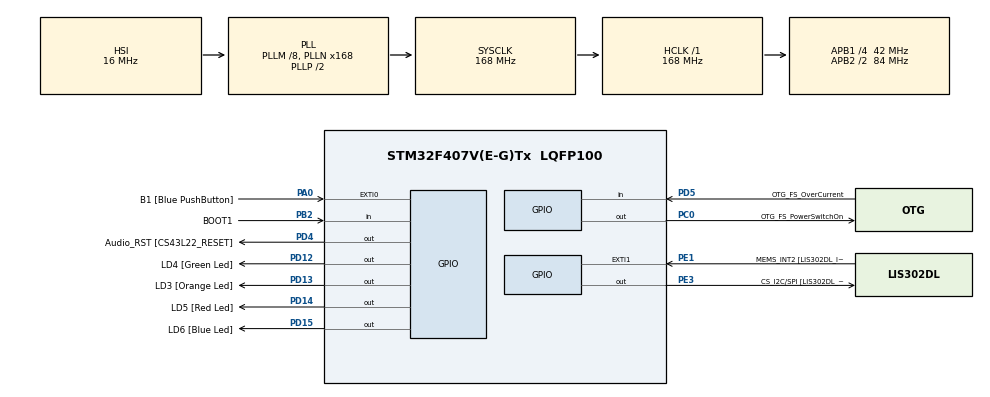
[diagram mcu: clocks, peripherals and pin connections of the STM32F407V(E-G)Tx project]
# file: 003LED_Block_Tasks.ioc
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Mcu.Family=STM32F4
Mcu.Name=STM32F407V(E-G)Tx
Mcu.Package=LQFP100
NVIC.PriorityGroup=NVIC_PRIORITYGROUP_4
NVIC.TIM6_DAC_IRQn=true\:0\:0\:false\:false\:true\:false\:true\:true
NVIC.TimeBase=TIM6_DAC_IRQn
NVIC.TimeBaseIP=TIM6
PA0-WKUP.GPIO_Label=B1 [Blue PushButton]
PA0-WKUP.Signal=GPXTI0
PA10.GPIO_Label=OTG_FS_ID
PA10.GPIO_Mode=GPIO_MODE_AF_PP
PA10.GPIO_PuPd=GPIO_NOPULL
PA10.GPIO_Speed=GPIO_SPEED_FREQ_LOW
PA10.Signal=USB_OTG_FS_ID
PA11.GPIO_Label=OTG_FS_DM
PA11.GPIO_Mode=GPIO_MODE_AF_PP
PA11.GPIO_PuPd=GPIO_NOPULL
PA11.GPIO_Speed=GPIO_SPEED_FREQ_LOW
PA11.Signal=USB_OTG_FS_DM
PA12.GPIO_Label=OTG_FS_DP
PA12.GPIO_Mode=GPIO_MODE_AF_PP
PA12.GPIO_PuPd=GPIO_NOPULL
PA12.GPIO_Speed=GPIO_SPEED_FREQ_LOW
PA12.Signal=USB_OTG_FS_DP
PA13.GPIO_Label=SWDIO
PA13.Signal=SYS_JTMS-SWDIO
PA14.GPIO_Label=SWCLK
PA14.Signal=SYS_JTCK-SWCLK
PA4.GPIO_Label=I2S3_WS [CS43L22_LRCK]
PA4.GPIO_Mode=GPIO_MODE_AF_PP
PA4.GPIO_PuPd=GPIO_NOPULL
PA4.GPIO_Speed=GPIO_SPEED_FREQ_LOW
PA4.Signal=I2S3_WS
PA5.GPIO_Label=SPI1_SCK [LIS302DL_SCL/SPC]
PA5.GPIO_Mode=GPIO_MODE_AF_PP
PA5.GPIO_PuPd=GPIO_NOPULL
PA5.GPIO_Speed=GPIO_SPEED_FREQ_LOW
PA5.Signal=SPI1_SCK
PA6.GPIO_Label=SPI1_MISO [LIS302DL_SDO]
PA6.GPIO_Mode=GPIO_MODE_AF_PP
PA6.GPIO_PuPd=GPIO_NOPULL
PA6.GPIO_Speed=GPIO_SPEED_FREQ_LOW
PA6.Signal=SPI1_MISO
PA7.GPIO_Label=SPI1_MOSI [LIS302DL_SDA/SDI/SDO]
PA7.GPIO_Mode=GPIO_MODE_AF_PP
PA7.GPIO_PuPd=GPIO_NOPULL
PA7.GPIO_Speed=GPIO_SPEED_FREQ_LOW
PA7.Signal=SPI1_MOSI
PA9.GPIO_Label=VBUS_FS
PA9.GPIO_Mode=GPIO_MODE_INPUT
PA9.GPIO_PuPd=GPIO_NOPULL
PA9.Signal=USB_OTG_FS_VBUS
PB10.GPIO_Label=CLK_IN [MP45DT02_CLK]
PB10.GPIO_Mode=GPIO_MODE_AF_PP
PB10.GPIO_PuPd=GPIO_NOPULL
PB10.GPIO_Speed=GPIO_SPEED_FREQ_LOW
PB10.Signal=I2S2_CK
PB2.GPIO_Label=BOOT1
PB2.GPIO_Mode=GPIO_MODE_INPUT
PB2.GPIO_PuPd=GPIO_NOPULL
PB2.Signal=GPIO_Input
PB3.GPIO_Label=SWO
PB3.Signal=SYS_JTDO-SWO
PB6.GPIO_Label=Audio_SCL [CS43L22_SCL]
PB6.GPIO_Mode=GPIO_MODE_AF_OD
PB6.GPIO_PuPd=GPIO_NOPULL
PB6.GPIO_Speed=GPIO_SPEED_FREQ_LOW
PB6.Signal=I2C1_SCL
PB9.GPIO_Label=Audio_SDA [CS43L22_SDA]
PB9.GPIO_Mode=GPIO_MODE_AF_OD
PB9.GPIO_PuPd=GPIO_NOPULL
PB9.GPIO_Speed=GPIO_SPEED_FREQ_LOW
PB9.Signal=I2C1_SDA
PC0.GPIO_Label=OTG_FS_PowerSwitchOn
PC0.GPIO_PuPd=GPIO_NOPULL
PC0.GPIO_Speed=GPIO_SPEED_FREQ_LOW
PC0.PinState=GPIO_PIN_SET
PC0.Signal=GPIO_Output
PC10.GPIO_Label=I2S3_SCK [CS43L22_SCLK]
PC10.GPIO_Mode=GPIO_MODE_AF_PP
PC10.GPIO_PuPd=GPIO_NOPULL
PC10.GPIO_Speed=GPIO_SPEED_FREQ_LOW
PC10.Signal=I2S3_CK
PC12.GPIO_Label=I2S3_SD [CS43L22_SDIN]
PC12.GPIO_Mode=GPIO_MODE_AF_PP
PC12.GPIO_PuPd=GPIO_NOPULL
PC12.GPIO_Speed=GPIO_SPEED_FREQ_LOW
PC12.Signal=I2S3_SD
PC14-OSC32_IN.GPIO_Label=PC14-OSC32_IN
PC14-OSC32_IN.Signal=RCC_OSC32_IN
PC15-OSC32_OUT.GPIO_Label=PC15-OSC32_OUT
PC15-OSC32_OUT.Signal=RCC_OSC32_OUT
PC3.GPIO_Label=PDM_OUT [MP45DT02_DOUT]
PC3.GPIO_Mode=GPIO_MODE_AF_PP
PC3.GPIO_PuPd=GPIO_NOPULL
PC3.GPIO_Speed=GPIO_SPEED_FREQ_LOW
PC3.Signal=I2S2_SD
PC7.GPIO_Label=I2S3_MCK [CS43L22_MCLK]
PC7.GPIO_Mode=GPIO_MODE_AF_PP
PC7.GPIO_PuPd=GPIO_NOPULL
PC7.GPIO_Speed=GPIO_SPEED_FREQ_LOW
PC7.Signal=I2S3_MCK
PD12.GPIO_Label=LD4 [Green Led]
PD12.GPIO_PuPd=GPIO_NOPULL
PD12.GPIO_Speed=GPIO_SPEED_FREQ_LOW
PD12.Signal=GPIO_Output
PD13.GPIO_Label=LD3 [Orange Led]
PD13.GPIO_PuPd=GPIO_NOPULL
PD13.GPIO_Speed=GPIO_SPEED_FREQ_LOW
PD13.Signal=GPIO_Output
PD14.GPIO_Label=LD5 [Red Led]
PD14.GPIO_PuPd=GPIO_NOPULL
PD14.GPIO_Speed=GPIO_SPEED_FREQ_LOW
PD14.Signal=GPIO_Output
PD15.GPIO_Label=LD6 [Blue Led]
PD15.GPIO_PuPd=GPIO_NOPULL
PD15.GPIO_Speed=GPIO_SPEED_FREQ_LOW
PD15.Signal=GPIO_Output
PD4.GPIO_Label=Audio_RST [CS43L22_RESET]
PD4.GPIO_PuPd=GPIO_NOPULL
PD4.GPIO_Speed=GPIO_SPEED_FREQ_LOW
PD4.Signal=GPIO_Output
PD5.GPIO_Label=OTG_FS_OverCurrent
PD5.GPIO_Mode=GPIO_MODE_INPUT
PD5.GPIO_PuPd=GPIO_NOPULL
PD5.Signal=GPIO_Input
PE1.GPIO_Label=MEMS_INT2 [LIS302DL_INT2]
PE1.GPIO_ModeDefaultEXTI=GPIO_MODE_EVT_RISING
PE1.GPIO_PuPd=GPIO_NOPULL
PE1.Signal=GPXTI1
PE3.GPIO_Label=CS_I2C/SPI [LIS302DL_CS_I2C/SPI]
PE3.GPIO_PuPd=GPIO_NOPULL
PE3.GPIO_Speed=GPIO_SPEED_FREQ_LOW
PE3.Signal=GPIO_Output
PH0-OSC_IN.GPIO_Label=PH0-OSC_IN
PH0-OSC_IN.Signal=RCC_OSC_IN
PH1-OSC_OUT.GPIO_Label=PH1-OSC_OUT
PH1-OSC_OUT.Signal=RCC_OSC_OUT
ProjectManager.HeapSize=0x200
ProjectManager.StackSize=0x400
ProjectManager.TargetToolchain=STM32CubeIDE
RCC.48MHZClocksFreq_Value=48000000
RCC.AHBFreq_Value=168000000
RCC.APB1CLKDivider=RCC_HCLK_DIV4
RCC.APB1Freq_Value=42000000
RCC.APB1TimFreq_Value=84000000
RCC.APB2CLKDivider=RCC_HCLK_DIV2
RCC.APB2Freq_Value=84000000
RCC.APB2TimFreq_Value=168000000
RCC.CortexFreq_Value=168000000
RCC.HCLKFreq_Value=168000000
RCC.HSE_VALUE=8000000
RCC.HSI_VALUE=16000000
RCC.LSE_VALUE=32768
RCC.PLLM=8
RCC.PLLN=168
RCC.PLLQ=7
RCC.SYSCLKFreq_VALUE=168000000
RCC.SYSCLKSource=RCC_SYSCLKSOURCE_PLLCLK
RCC.VCOOutputFreq_Value=336000000
VP_SYS_VS_tim6.Mode=TIM6
board=STM32F407G-DISC1

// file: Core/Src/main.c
/* USER CODE BEGIN Header */
/**
  ******************************************************************************
  * @file           : main.c
  * @brief          : Main program body
  ******************************************************************************
  * @attention
  *
  * Copyright (c) 2023 STMicroelectronics.
  * All rights reserved.
  *
  * This software is licensed under terms that can be found in the LICENSE file
  * in the root directory of this software component.
  * If no LICENSE file comes with this software, it is provided AS-IS.
  *
  ******************************************************************************
  */
/* USER CODE END Header */
#include "main.h"

/* USER CODE BEGIN Includes */
#include "FreeRTOS.h"
#include "task.h"
/* USER CODE END Includes */

/* USER CODE BEGIN PV */

#define DWT_CTRL	(*(volatile uint32_t*)0xE0001000)

/* USER CODE END PV */

void SystemClock_Config(void);
static void MX_GPIO_Init(void);
/* USER CODE BEGIN PFP */
static void led_green_handler(void* parameters);
static void led_red_handler(void* parameters);
static void led_orange_handler(void* parameters);
/* USER CODE END PFP */

int main(void)
{
  /* USER CODE BEGIN 1 */
  TaskHandle_t task1_handle;
  TaskHandle_t task2_handle;
  TaskHandle_t task3_handle;

  BaseType_t status;
  /* USER CODE END 1 */

  /* MCU Configuration--------------------------------------------------------*/

  /* Reset of all peripherals, Initializes the Flash interface and the Systick. */
  HAL_Init();

  /* Configure the system clock */
  SystemClock_Config();

  /* Initialize all configured peripherals */
  MX_GPIO_Init();
  /* USER CODE BEGIN 2 */

  DWT_CTRL |= ( 1<< 0);

  SEGGER_UART_init(500000);

  SEGGER_SYSVIEW_Conf();

  status = xTaskCreate(led_green_handler, "LED_green_task", 200, NULL, 2, &task1_handle);

  configASSERT(status == pdPASS);

  status = xTaskCreate(led_red_handler, "LED_red_task", 200, NULL, 2, &task2_handle);

  configASSERT(status == pdPASS);

  status = xTaskCreate(led_orange_handler, "LED_orange_task", 200, NULL, 2, &task3_handle);

  configASSERT(status == pdPASS);

  vTaskStartScheduler();
  /* USER CODE END 2 */

  /* Infinite loop */
  while (1)
  {

  }
}

void SystemClock_Config(void)
{
  RCC_OscInitTypeDef RCC_OscInitStruct = {0};
  RCC_ClkInitTypeDef RCC_ClkInitStruct = {0};

  /** Configure the main internal regulator output voltage
  */
  __HAL_RCC_PWR_CLK_ENABLE();
  __HAL_PWR_VOLTAGESCALING_CONFIG(PWR_REGULATOR_VOLTAGE_SCALE1);

  /** Initializes the RCC Oscillators according to the specified parameters
  * in the RCC_OscInitTypeDef structure.
  */
  RCC_OscInitStruct.OscillatorType = RCC_OSCILLATORTYPE_HSI;
  RCC_OscInitStruct.HSIState = RCC_HSI_ON;
  RCC_OscInitStruct.HSICalibrationValue = RCC_HSICALIBRATION_DEFAULT;
  RCC_OscInitStruct.PLL.PLLState = RCC_PLL_ON;
  RCC_OscInitStruct.PLL.PLLSource = RCC_PLLSOURCE_HSI;
  RCC_OscInitStruct.PLL.PLLM = 8;
  RCC_OscInitStruct.PLL.PLLN = 168;
  RCC_OscInitStruct.PLL.PLLP = RCC_PLLP_DIV2;
  RCC_OscInitStruct.PLL.PLLQ = 7;
  if (HAL_RCC_OscConfig(&RCC_OscInitStruct) != HAL_OK)
  {
    Error_Handler();
  }

  /** Initializes the CPU, AHB and APB buses clocks
  */
  RCC_ClkInitStruct.ClockType = RCC_CLOCKTYPE_HCLK|RCC_CLOCKTYPE_SYSCLK
                              |RCC_CLOCKTYPE_PCLK1|RCC_CLOCKTYPE_PCLK2;
  RCC_ClkInitStruct.SYSCLKSource = RCC_SYSCLKSOURCE_PLLCLK;
  RCC_ClkInitStruct.AHBCLKDivider = RCC_SYSCLK_DIV1;
  RCC_ClkInitStruct.APB1CLKDivider = RCC_HCLK_DIV4;
  RCC_ClkInitStruct.APB2CLKDivider = RCC_HCLK_DIV2;

  if (HAL_RCC_ClockConfig(&RCC_ClkInitStruct, FLASH_LATENCY_5) != HAL_OK)
  {
    Error_Handler();
  }
}

static void MX_GPIO_Init(void)
{
  GPIO_InitTypeDef GPIO_InitStruct = {0};

  /* GPIO Ports Clock Enable */
  __HAL_RCC_GPIOE_CLK_ENABLE();
  __HAL_RCC_GPIOC_CLK_ENABLE();
  __HAL_RCC_GPIOH_CLK_ENABLE();
  __HAL_RCC_GPIOA_CLK_ENABLE();
  __HAL_RCC_GPIOB_CLK_ENABLE();
  __HAL_RCC_GPIOD_CLK_ENABLE();

  /*Configure GPIO pin Output Level */
  HAL_GPIO_WritePin(CS_I2C_SPI_GPIO_Port, CS_I2C_SPI_Pin, GPIO_PIN_RESET);

  /*Configure GPIO pin Output Level */
  HAL_GPIO_WritePin(OTG_FS_PowerSwitchOn_GPIO_Port, OTG_FS_PowerSwitchOn_Pin, GPIO_PIN_SET);

  /*Configure GPIO pin Output Level */
  HAL_GPIO_WritePin(GPIOD, LD4_Pin|LD3_Pin|LD5_Pin|LD6_Pin
                          |Audio_RST_Pin, GPIO_PIN_RESET);

  /*Configure GPIO pin : CS_I2C_SPI_Pin */
  GPIO_InitStruct.Pin = CS_I2C_SPI_Pin;
  GPIO_InitStruct.Mode = GPIO_MODE_OUTPUT_PP;
  GPIO_InitStruct.Pull = GPIO_NOPULL;
  GPIO_InitStruct.Speed = GPIO_SPEED_FREQ_LOW;
  HAL_GPIO_Init(CS_I2C_SPI_GPIO_Port, &GPIO_InitStruct);

  /*Configure GPIO pin : OTG_FS_PowerSwitchOn_Pin */
  GPIO_InitStruct.Pin = OTG_FS_PowerSwitchOn_Pin;
  GPIO_InitStruct.Mode = GPIO_MODE_OUTPUT_PP;
  GPIO_InitStruct.Pull = GPIO_NOPULL;
  GPIO_InitStruct.Speed = GPIO_SPEED_FREQ_LOW;
  HAL_GPIO_Init(OTG_FS_PowerSwitchOn_GPIO_Port, &GPIO_InitStruct);

  /*Configure GPIO pin : PDM_OUT_Pin */
  GPIO_InitStruct.Pin = PDM_OUT_Pin;
  GPIO_InitStruct.Mode = GPIO_MODE_AF_PP;
  GPIO_InitStruct.Pull = GPIO_NOPULL;
  GPIO_InitStruct.Speed = GPIO_SPEED_FREQ_LOW;
  GPIO_InitStruct.Alternate = GPIO_AF5_SPI2;
  HAL_GPIO_Init(PDM_OUT_GPIO_Port, &GPIO_InitStruct);

  /*Configure GPIO pin : B1_Pin */
  GPIO_InitStruct.Pin = B1_Pin;
  GPIO_InitStruct.Mode = GPIO_MODE_IT_RISING;
  GPIO_InitStruct.Pull = GPIO_NOPULL;
  HAL_GPIO_Init(B1_GPIO_Port, &GPIO_InitStruct);

  /*Configure GPIO pin : I2S3_WS_Pin */
  GPIO_InitStruct.Pin = I2S3_WS_Pin;
  GPIO_InitStruct.Mode = GPIO_MODE_AF_PP;
  GPIO_InitStruct.Pull = GPIO_NOPULL;
  GPIO_InitStruct.Speed = GPIO_SPEED_FREQ_LOW;
  GPIO_InitStruct.Alternate = GPIO_AF6_SPI3;
  HAL_GPIO_Init(I2S3_WS_GPIO_Port, &GPIO_InitStruct);

  /*Configure GPIO pins : SPI1_SCK_Pin SPI1_MISO_Pin SPI1_MOSI_Pin */
  GPIO_InitStruct.Pin = SPI1_SCK_Pin|SPI1_MISO_Pin|SPI1_MOSI_Pin;
  GPIO_InitStruct.Mode = GPIO_MODE_AF_PP;
  GPIO_InitStruct.Pull = GPIO_NOPULL;
  GPIO_InitStruct.Speed = GPIO_SPEED_FREQ_LOW;
  GPIO_InitStruct.Alternate = GPIO_AF5_SPI1;
  HAL_GPIO_Init(GPIOA, &GPIO_InitStruct);

  /*Configure GPIO pin : BOOT1_Pin */
  GPIO_InitStruct.Pin = BOOT1_Pin;
  GPIO_InitStruct.Mode = GPIO_MODE_INPUT;
  GPIO_InitStruct.Pull = GPIO_NOPULL;
  HAL_GPIO_Init(BOOT1_GPIO_Port, &GPIO_InitStruct);

  /*Configure GPIO pin : CLK_IN_Pin */
  GPIO_InitStruct.Pin = CLK_IN_Pin;
  GPIO_InitStruct.Mode = GPIO_MODE_AF_PP;
  GPIO_InitStruct.Pull = GPIO_NOPULL;
  GPIO_InitStruct.Speed = GPIO_SPEED_FREQ_LOW;
  GPIO_InitStruct.Alternate = GPIO_AF5_SPI2;
  HAL_GPIO_Init(CLK_IN_GPIO_Port, &GPIO_InitStruct);

  /*Configure GPIO pins : LD4_Pin LD3_Pin LD5_Pin LD6_Pin
                           Audio_RST_Pin */
  GPIO_InitStruct.Pin = LD4_Pin|LD3_Pin|LD5_Pin|LD6_Pin
                          |Audio_RST_Pin;
  GPIO_InitStruct.Mode = GPIO_MODE_OUTPUT_PP;
  GPIO_InitStruct.Pull = GPIO_NOPULL;
  GPIO_InitStruct.Speed = GPIO_SPEED_FREQ_LOW;
  HAL_GPIO_Init(GPIOD, &GPIO_InitStruct);

  /*Configure GPIO pins : I2S3_MCK_Pin I2S3_SCK_Pin I2S3_SD_Pin */
  GPIO_InitStruct.Pin = I2S3_MCK_Pin|I2S3_SCK_Pin|I2S3_SD_Pin;
  GPIO_InitStruct.Mode = GPIO_MODE_AF_PP;
  GPIO_InitStruct.Pull = GPIO_NOPULL;
  GPIO_InitStruct.Speed = GPIO_SPEED_FREQ_LOW;
  GPIO_InitStruct.Alternate = GPIO_AF6_SPI3;
  HAL_GPIO_Init(GPIOC, &GPIO_InitStruct);

  /*Configure GPIO pin : VBUS_FS_Pin */
  GPIO_InitStruct.Pin = VBUS_FS_Pin;
  GPIO_InitStruct.Mode = GPIO_MODE_INPUT;
  GPIO_InitStruct.Pull = GPIO_NOPULL;
  HAL_GPIO_Init(VBUS_FS_GPIO_Port, &GPIO_InitStruct);

  /*Configure GPIO pins : OTG_FS_ID_Pin OTG_FS_DM_Pin OTG_FS_DP_Pin */
  GPIO_InitStruct.Pin = OTG_FS_ID_Pin|OTG_FS_DM_Pin|OTG_FS_DP_Pin;
  GPIO_InitStruct.Mode = GPIO_MODE_AF_PP;
  GPIO_InitStruct.Pull = GPIO_NOPULL;
  GPIO_InitStruct.Speed = GPIO_SPEED_FREQ_LOW;
  GPIO_InitStruct.Alternate = GPIO_AF10_OTG_FS;
  HAL_GPIO_Init(GPIOA, &GPIO_InitStruct);

  /*Configure GPIO pin : OTG_FS_OverCurrent_Pin */
  GPIO_InitStruct.Pin = OTG_FS_OverCurrent_Pin;
  GPIO_InitStruct.Mode = GPIO_MODE_INPUT;
  GPIO_InitStruct.Pull = GPIO_NOPULL;
  HAL_GPIO_Init(OTG_FS_OverCurrent_GPIO_Port, &GPIO_InitStruct);

  /*Configure GPIO pins : Audio_SCL_Pin Audio_SDA_Pin */
  GPIO_InitStruct.Pin = Audio_SCL_Pin|Audio_SDA_Pin;
  GPIO_InitStruct.Mode = GPIO_MODE_AF_OD;
  GPIO_InitStruct.Pull = GPIO_NOPULL;
  GPIO_InitStruct.Speed = GPIO_SPEED_FREQ_LOW;
  GPIO_InitStruct.Alternate = GPIO_AF4_I2C1;
  HAL_GPIO_Init(GPIOB, &GPIO_InitStruct);

  /*Configure GPIO pin : MEMS_INT2_Pin */
  GPIO_InitStruct.Pin = MEMS_INT2_Pin;
  GPIO_InitStruct.Mode = GPIO_MODE_EVT_RISING;
  GPIO_InitStruct.Pull = GPIO_NOPULL;
  HAL_GPIO_Init(MEMS_INT2_GPIO_Port, &GPIO_InitStruct);

}

/* USER CODE BEGIN 4 */
static void led_green_handler(void* parameters)
{
	while(1)
	{
		SEGGER_SYSVIEW_PrintfTarget("Toggling green LED");
		HAL_GPIO_TogglePin(GPIOD, LED_GREEN_PIN);
		vTaskDelay(pdMS_TO_TICKS(1000));
	}
}

static void led_red_handler(void* parameters)
{
	while(1)
	{
		SEGGER_SYSVIEW_PrintfTarget("Toggling red LED");
		HAL_GPIO_TogglePin(GPIOD, LED_ORANGE_PIN);
		vTaskDelay(pdMS_TO_TICKS(800));
	}
}

static void led_orange_handler(void* parameters)
{
	while(1)
	{
		SEGGER_SYSVIEW_PrintfTarget("Toggling orange LED");
		HAL_GPIO_TogglePin(GPIOD, LED_RED_PIN);
		vTaskDelay(pdMS_TO_TICKS(400));
	}
}
/* USER CODE END 4 */

void HAL_TIM_PeriodElapsedCallback(TIM_HandleTypeDef *htim)
{
  if (htim->Instance == TIM6) {
    HAL_IncTick();
  }
}

void Error_Handler(void)
{
  __disable_irq();
  while (1)
  {
  }
}
